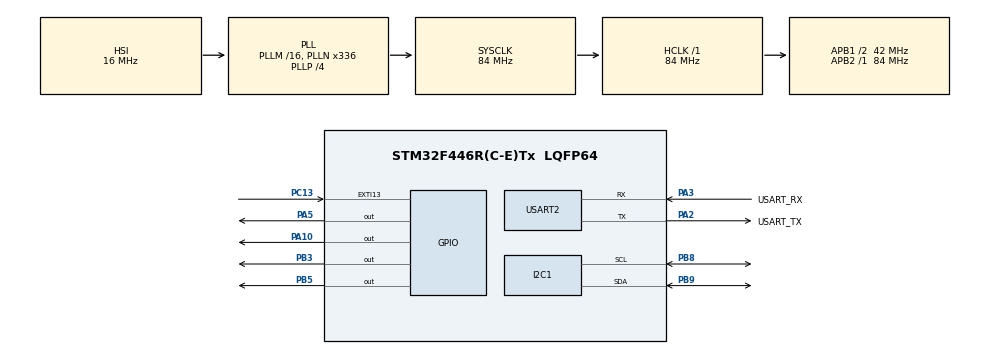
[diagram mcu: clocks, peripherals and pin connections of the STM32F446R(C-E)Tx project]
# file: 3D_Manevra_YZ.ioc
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Mcu.Family=STM32F4
Mcu.Name=STM32F446R(C-E)Tx
Mcu.Package=LQFP64
NUCLEO-F446RE.BUTTON=1
NUCLEO-F446RE.LD1=true
NVIC.EXTI15_10_IRQn=true\:0\:0\:false\:false\:true\:false\:true\:true
NVIC.PriorityGroup=NVIC_PRIORITYGROUP_0
PA10.Signal=GPIO_Output
PA13.GPIO_Label=TMS
PA13.Signal=SYS_JTMS-SWDIO
PA14.GPIO_Label=TCK
PA14.Signal=SYS_JTCK-SWCLK
PA2.GPIO_Label=USART_TX
PA2.Mode=Asynchronous
PA2.Signal=USART2_TX
PA3.GPIO_Label=USART_RX
PA3.Mode=Asynchronous
PA3.Signal=USART2_RX
PA5.Signal=GPIO_Output
PB3.Signal=GPIO_Output
PB5.Signal=GPIO_Output
PB8.Mode=I2C
PB8.Signal=I2C1_SCL
PB9.Mode=I2C
PB9.Signal=I2C1_SDA
PC13.Signal=GPXTI13
PC14-OSC32_IN.Signal=RCC_OSC32_IN
PC15-OSC32_OUT.Signal=RCC_OSC32_OUT
PH0-OSC_IN.Signal=RCC_OSC_IN
PH1-OSC_OUT.Signal=RCC_OSC_OUT
ProjectManager.HeapSize=0x200
ProjectManager.StackSize=0x400
ProjectManager.TargetToolchain=STM32CubeIDE
RCC.AHBFreq_Value=84000000
RCC.APB1CLKDivider=RCC_HCLK_DIV2
RCC.APB1Freq_Value=42000000
RCC.APB1TimFreq_Value=84000000
RCC.APB2Freq_Value=84000000
RCC.APB2TimFreq_Value=84000000
RCC.CortexFreq_Value=84000000
RCC.FLatency-AdvancedSettings=FLASH_LATENCY_2
RCC.HCLKFreq_Value=84000000
RCC.HSE_VALUE=8000000
RCC.HSI_VALUE=16000000
RCC.LSE_VALUE=32768
RCC.PLLN=336
RCC.PLLP=RCC_PLLP_DIV4
RCC.SYSCLKFreq_VALUE=84000000
RCC.SYSCLKSource=RCC_SYSCLKSOURCE_PLLCLK
RCC.USBFreq_Value=168000000
RCC.VCOOutputFreq_Value=336000000
USART2.VirtualMode=VM_ASYNC
VP_NUCLEO-F446RE_VS_BSP_COMMON.Mode=COMMON
board=NUCLEO-F446RE

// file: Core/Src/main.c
/* USER CODE BEGIN Header */
/**
  ******************************************************************************
  * @file           : main.c
  * @brief          : Main program body
  ******************************************************************************
  * @attention
  *
  * Copyright (c) 2026 STMicroelectronics.
  * All rights reserved.
  *
  * This software is licensed under terms that can be found in the LICENSE file
  * in the root directory of this software component.
  * If no LICENSE file comes with this software, it is provided AS-IS.
  *
  ******************************************************************************
  */
/* USER CODE END Header */
#include "main.h"

/* USER CODE BEGIN Includes */
#include <stdio.h>
#include <string.h>
#include <math.h>
#include "maneuver_model.h"
/* USER CODE END Includes */

I2C_HandleTypeDef hi2c1;

UART_HandleTypeDef huart2;

/* USER CODE BEGIN PV */
extern I2C_HandleTypeDef hi2c1;
extern UART_HandleTypeDef huart2;

#define MPU6050_ADDR 0xD0
#define WHO_AM_I_REG 0x75
#define PWR_MGMT_1   0x6B
#define SMPLRT_DIV   0x19
#define ACCEL_CONFIG 0x1C
#define GYRO_CONFIG  0x1B
#define ACCEL_XOUT_H 0x3B

int16_t Accel_X_RAW, Accel_Y_RAW, Accel_Z_RAW;
int16_t Gyro_X_RAW, Gyro_Y_RAW, Gyro_Z_RAW;

float Ax, Ay, Az;
float Gx, Gy, Gz;
float roll = 0.0f;
float pitch = 0.0f;

uint32_t prev_time = 0;
char msg_buf[256];

// Model Girdisi: 75 örnek x 6 kanal = 450 float
#define WINDOW_SIZE 75
float input_window[INPUT_SIZE];
int window_index = 0;
int current_maneuver = 0;
/* USER CODE END PV */

void SystemClock_Config(void);
static void MX_GPIO_Init(void);
static void MX_I2C1_Init(void);
static void MX_USART2_UART_Init(void);

/* USER CODE BEGIN 0 */
uint8_t MPU6050_Init(void) {
    uint8_t check = 0;
    uint8_t data = 0;

    // 1. Sensör kimliğini kontrol et (0x68 dönmeli)
    HAL_I2C_Mem_Read(&hi2c1, MPU6050_ADDR, WHO_AM_I_REG, 1, &check, 1, 100);

    if (check == 0x68) {
        // 2. Uyku modundan çıkar (PWR_MGMT_1 = 0x00)
        data = 0x00;
        HAL_I2C_Mem_Write(&hi2c1, MPU6050_ADDR, PWR_MGMT_1, 1, &data, 1, 100);

        // 3. Örnekleme frekansı: 1 kHz / (1 + 7) = 125 Hz
        data = 0x07;
        HAL_I2C_Mem_Write(&hi2c1, MPU6050_ADDR, SMPLRT_DIV, 1, &data, 1, 100);

        // 4. İvmeölçer aralığı: +-4g (FS_SEL = 1)
        data = 0x08;
        HAL_I2C_Mem_Write(&hi2c1, MPU6050_ADDR, ACCEL_CONFIG, 1, &data, 1, 100);

        // 5. Jiroskop aralığı: +-500 dps (FS_SEL = 1)
        data = 0x08;
        HAL_I2C_Mem_Write(&hi2c1, MPU6050_ADDR, GYRO_CONFIG, 1, &data, 1, 100);

        return 1; // Başarılı
    }
    return 0; // Sensör bulunamadı
}

void MPU6050_Read_Raw(void) {
    uint8_t raw[14];

    // 14 byte tek seferde çekilir: Ax(2), Ay(2), Az(2), Temp(2), Gx(2), Gy(2), Gz(2)
    if (HAL_I2C_Mem_Read(&hi2c1, MPU6050_ADDR, ACCEL_XOUT_H, 1, raw, 14, 100) == HAL_OK) {
        Accel_X_RAW = (int16_t)(raw[0] << 8 | raw[1]);
        Accel_Y_RAW = (int16_t)(raw[2] << 8 | raw[3]);
        Accel_Z_RAW = (int16_t)(raw[4] << 8 | raw[5]);

        Gyro_X_RAW  = (int16_t)(raw[8] << 8 | raw[9]);
        Gyro_Y_RAW  = (int16_t)(raw[10] << 8 | raw[11]);
        Gyro_Z_RAW  = (int16_t)(raw[12] << 8 | raw[13]);
    }
}
/* USER CODE END 0 */

int main(void)
{

  /* MCU Configuration--------------------------------------------------------*/

  /* Reset of all peripherals, Initializes the Flash interface and the Systick. */
  HAL_Init();

  /* Configure the system clock */
  SystemClock_Config();

  /* Initialize all configured peripherals */
  MX_GPIO_Init();
  MX_I2C1_Init();
  MX_USART2_UART_Init();
  /* USER CODE BEGIN 2 */
  char info_buf[64];
  int len;

  len = snprintf(info_buf, sizeof(info_buf), "\r\n--- I2C Taramasi Basliyor ---\r\n");
  HAL_UART_Transmit(&huart2, (uint8_t*)info_buf, len, 100);

  uint8_t found = 0;
  for (uint16_t addr = 1; addr < 128; addr++) {
      // HAL_I2C_IsDeviceReady adresin 1 bit sola kaydırılmış halini bekler
      if (HAL_I2C_IsDeviceReady(&hi2c1, (uint16_t)(addr << 1), 2, 10) == HAL_OK) {
          len = snprintf(info_buf, sizeof(info_buf), "Cihaz bulundu! 7-bit Adres: 0x%02X (HAL Adresi: 0x%02X)\r\n", addr, (addr << 1));
          HAL_UART_Transmit(&huart2, (uint8_t*)info_buf, len, 100);
          found = 1;
      }
  }

  if (!found) {
      len = snprintf(info_buf, sizeof(info_buf), "Hicbir I2C cihazi bulunamadi!\r\n");
      HAL_UART_Transmit(&huart2, (uint8_t*)info_buf, len, 100);
  }
  /* USER CODE END 2 */

  /* Initialize leds */
  BSP_LED_Init(LED2);

  /* Initialize USER push-button, will be used to trigger an interrupt each time it's pressed.*/
  BSP_PB_Init(BUTTON_USER, BUTTON_MODE_EXTI);

  /* Infinite loop */
  /* USER CODE BEGIN WHILE */
  while (1)
  {
      if (HAL_GetTick() - prev_time >= 20) { // 50 Hz periyot
          prev_time = HAL_GetTick();

          uint8_t raw[14];
          if (HAL_I2C_Mem_Read(&hi2c1, MPU6050_ADDR, ACCEL_XOUT_H, 1, raw, 14, 20) == HAL_OK)
          {
              Accel_X_RAW = (int16_t)(raw[0] << 8 | raw[1]);
              Accel_Y_RAW = (int16_t)(raw[2] << 8 | raw[3]);
              Accel_Z_RAW = (int16_t)(raw[4] << 8 | raw[5]);
              Gyro_X_RAW  = (int16_t)(raw[8] << 8 | raw[9]);
              Gyro_Y_RAW  = (int16_t)(raw[10] << 8 | raw[11]);
              Gyro_Z_RAW  = (int16_t)(raw[12] << 8 | raw[13]);

              Ax = Accel_X_RAW / 8192.0f;
              Ay = Accel_Y_RAW / 8192.0f;
              Az = Accel_Z_RAW / 8192.0f;
              Gx = Gyro_X_RAW / 65.5f;
              Gy = Gyro_Y_RAW / 65.5f;
              Gz = Gyro_Z_RAW / 65.5f;

              // Filtreleme
              float roll_acc = atan2f(Ay, Az) * 57.29578f;
              float pitch_acc = atan2f(-Ax, sqrtf(Ay * Ay + Az * Az)) * 57.29578f;
              roll = 0.96f * (roll + Gx * 0.02f) + 0.04f * roll_acc;
              pitch = 0.96f * (pitch + Gy * 0.02f) + 0.04f * pitch_acc;

              // Kayan Pencereye (Sliding Window) Yeni Örneği Ekle
              // Sıralama: Ax, Ay, Az, Gx, Gy, Gz
              if (window_index < WINDOW_SIZE) {
                  input_window[window_index * 6 + 0] = Ax;
                  input_window[window_index * 6 + 1] = Ay;
                  input_window[window_index * 6 + 2] = Az;
                  input_window[window_index * 6 + 3] = Gx;
                  input_window[window_index * 6 + 4] = Gy;
                  input_window[window_index * 6 + 5] = Gz;
                  window_index++;
              } else {
                  // Buffer dolduğunda verileri 1 adım sola kaydır (Shift)
                  memmove(&input_window[0], &input_window[6], (INPUT_SIZE - 6) * sizeof(float));
                  input_window[INPUT_SIZE - 6] = Ax;
                  input_window[INPUT_SIZE - 5] = Ay;
                  input_window[INPUT_SIZE - 4] = Az;
                  input_window[INPUT_SIZE - 3] = Gx;
                  input_window[INPUT_SIZE - 2] = Gy;
                  input_window[INPUT_SIZE - 1] = Gz;

                  // --- YAPAY ZEKA ÇIKARIMI (INFERENCE) ---
                  current_maneuver = predict_maneuver(input_window);

                  // --- GELİŞMİŞ ÇIKARIM VE FİLTRELEME ---

                  // 1. Fiziksel Durgunluk Kontrolü (Gyro Eşiği)
                  // Eğer eksenlerdeki dönüş hızlarının toplamı çok düşükse doğrudan Düz Uçuş kabul et
                  float gyro_magnitude = fabsf(Gx) + fabsf(Gy) + fabsf(Gz);

                  if (gyro_magnitude < 25.0f) {
                      current_maneuver = 0; // Durgun/Düz Uçuş
                  } else {
                      // Hareket varken yapay zeka karar versin
                      current_maneuver = predict_maneuver(input_window);
                  }

                  // 2. LED Kontrolleri (D2=PA10, D3=PB3, D4=PB5)
                  if (current_maneuver == 0) {
                      // Düz Uçuş -> D2 Açık
                      HAL_GPIO_WritePin(GPIOA, GPIO_PIN_10, GPIO_PIN_SET);
                      HAL_GPIO_WritePin(GPIOB, GPIO_PIN_3, GPIO_PIN_RESET);
                      HAL_GPIO_WritePin(GPIOB, GPIO_PIN_5, GPIO_PIN_RESET);
                  }
                  else if (current_maneuver == 1) {
                      // Barrel Roll -> D3 Açık
                      HAL_GPIO_WritePin(GPIOA, GPIO_PIN_10, GPIO_PIN_RESET);
                      HAL_GPIO_WritePin(GPIOB, GPIO_PIN_3, GPIO_PIN_SET);
                      HAL_GPIO_WritePin(GPIOB, GPIO_PIN_5, GPIO_PIN_RESET);
                  }
                  else if (current_maneuver == 2) {
                  // Inside Loop -> D4 Açık
                  HAL_GPIO_WritePin(GPIOA, GPIO_PIN_10, GPIO_PIN_RESET);
                  HAL_GPIO_WritePin(GPIOB, GPIO_PIN_3, GPIO_PIN_RESET);
                  HAL_GPIO_WritePin(GPIOB, GPIO_PIN_5, GPIO_PIN_SET);
                  }
              }

              // CSV Telemetri Paketi (9. değer artık gerçek yapay zeka tahmini)
              int len = snprintf(msg_buf, sizeof(msg_buf),
                                 "%.2f,%.2f,%.2f,%.2f,%.2f,%.2f,%.2f,%.2f,%d\r\n",
                                 roll, pitch, Gx, Gy, Gz, Ax, Ay, Az, current_maneuver);

              HAL_UART_Transmit(&huart2, (uint8_t*)msg_buf, len, 20);
          }
          else
          {
              HAL_I2C_DeInit(&hi2c1);
              HAL_I2C_Init(&hi2c1);
          }
      }
  /* USER CODE END WHILE */

  }
}

void SystemClock_Config(void)
{
  RCC_OscInitTypeDef RCC_OscInitStruct = {0};
  RCC_ClkInitTypeDef RCC_ClkInitStruct = {0};

  /** Configure the main internal regulator output voltage
  */
  __HAL_RCC_PWR_CLK_ENABLE();
  __HAL_PWR_VOLTAGESCALING_CONFIG(PWR_REGULATOR_VOLTAGE_SCALE3);

  /** Initializes the RCC Oscillators according to the specified parameters
  * in the RCC_OscInitTypeDef structure.
  */
  RCC_OscInitStruct.OscillatorType = RCC_OSCILLATORTYPE_HSI;
  RCC_OscInitStruct.HSIState = RCC_HSI_ON;
  RCC_OscInitStruct.HSICalibrationValue = RCC_HSICALIBRATION_DEFAULT;
  RCC_OscInitStruct.PLL.PLLState = RCC_PLL_ON;
  RCC_OscInitStruct.PLL.PLLSource = RCC_PLLSOURCE_HSI;
  RCC_OscInitStruct.PLL.PLLM = 16;
  RCC_OscInitStruct.PLL.PLLN = 336;
  RCC_OscInitStruct.PLL.PLLP = RCC_PLLP_DIV4;
  RCC_OscInitStruct.PLL.PLLQ = 2;
  RCC_OscInitStruct.PLL.PLLR = 2;
  if (HAL_RCC_OscConfig(&RCC_OscInitStruct) != HAL_OK)
  {
    Error_Handler();
  }

  /** Initializes the CPU, AHB and APB buses clocks
  */
  RCC_ClkInitStruct.ClockType = RCC_CLOCKTYPE_HCLK|RCC_CLOCKTYPE_SYSCLK
                              |RCC_CLOCKTYPE_PCLK1|RCC_CLOCKTYPE_PCLK2;
  RCC_ClkInitStruct.SYSCLKSource = RCC_SYSCLKSOURCE_PLLCLK;
  RCC_ClkInitStruct.AHBCLKDivider = RCC_SYSCLK_DIV1;
  RCC_ClkInitStruct.APB1CLKDivider = RCC_HCLK_DIV2;
  RCC_ClkInitStruct.APB2CLKDivider = RCC_HCLK_DIV1;

  if (HAL_RCC_ClockConfig(&RCC_ClkInitStruct, FLASH_LATENCY_2) != HAL_OK)
  {
    Error_Handler();
  }
}

static void MX_I2C1_Init(void)
{

  hi2c1.Instance = I2C1;
  hi2c1.Init.ClockSpeed = 100000;
  hi2c1.Init.DutyCycle = I2C_DUTYCYCLE_2;
  hi2c1.Init.OwnAddress1 = 0;
  hi2c1.Init.AddressingMode = I2C_ADDRESSINGMODE_7BIT;
  hi2c1.Init.DualAddressMode = I2C_DUALADDRESS_DISABLE;
  hi2c1.Init.OwnAddress2 = 0;
  hi2c1.Init.GeneralCallMode = I2C_GENERALCALL_DISABLE;
  hi2c1.Init.NoStretchMode = I2C_NOSTRETCH_DISABLE;
  if (HAL_I2C_Init(&hi2c1) != HAL_OK)
  {
    Error_Handler();
  }

}

static void MX_USART2_UART_Init(void)
{

  huart2.Instance = USART2;
  huart2.Init.BaudRate = 115200;
  huart2.Init.WordLength = UART_WORDLENGTH_8B;
  huart2.Init.StopBits = UART_STOPBITS_1;
  huart2.Init.Parity = UART_PARITY_NONE;
  huart2.Init.Mode = UART_MODE_TX_RX;
  huart2.Init.HwFlowCtl = UART_HWCONTROL_NONE;
  huart2.Init.OverSampling = UART_OVERSAMPLING_16;
  if (HAL_UART_Init(&huart2) != HAL_OK)
  {
    Error_Handler();
  }

}

static void MX_GPIO_Init(void)
{
  GPIO_InitTypeDef GPIO_InitStruct = {0};

  /* GPIO Ports Clock Enable */
  __HAL_RCC_GPIOC_CLK_ENABLE();
  __HAL_RCC_GPIOH_CLK_ENABLE();
  __HAL_RCC_GPIOA_CLK_ENABLE();
  __HAL_RCC_GPIOB_CLK_ENABLE();

  /*Configure GPIO pin Output Level */
  HAL_GPIO_WritePin(GPIOA, GPIO_PIN_10, GPIO_PIN_RESET);

  /*Configure GPIO pin Output Level */
  HAL_GPIO_WritePin(GPIOB, GPIO_PIN_3|GPIO_PIN_5, GPIO_PIN_RESET);

  /*Configure GPIO pin : PA10 */
  GPIO_InitStruct.Pin = GPIO_PIN_10;
  GPIO_InitStruct.Mode = GPIO_MODE_OUTPUT_PP;
  GPIO_InitStruct.Pull = GPIO_NOPULL;
  GPIO_InitStruct.Speed = GPIO_SPEED_FREQ_LOW;
  HAL_GPIO_Init(GPIOA, &GPIO_InitStruct);

  /*Configure GPIO pins : PB3 PB5 */
  GPIO_InitStruct.Pin = GPIO_PIN_3|GPIO_PIN_5;
  GPIO_InitStruct.Mode = GPIO_MODE_OUTPUT_PP;
  GPIO_InitStruct.Pull = GPIO_NOPULL;
  GPIO_InitStruct.Speed = GPIO_SPEED_FREQ_LOW;
  HAL_GPIO_Init(GPIOB, &GPIO_InitStruct);

}

void Error_Handler(void)
{
  __disable_irq();
  while (1)
  {
  }
}
